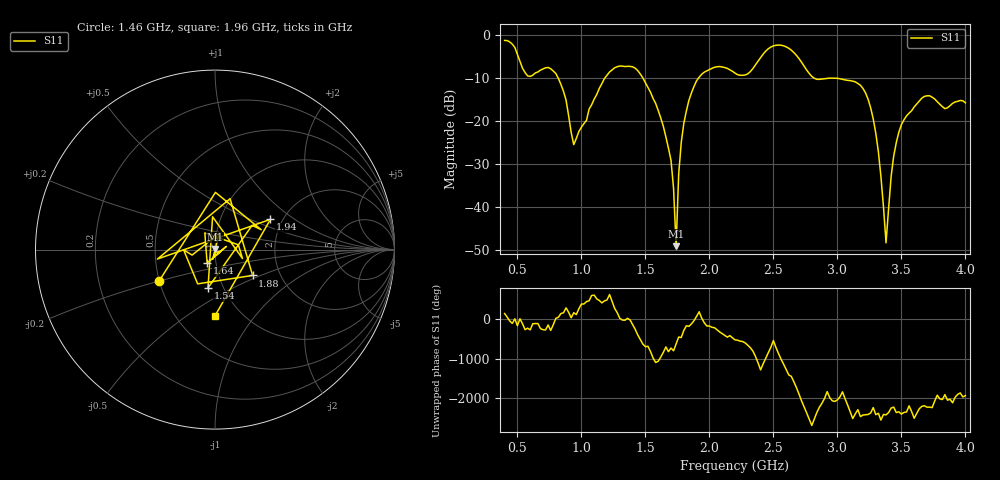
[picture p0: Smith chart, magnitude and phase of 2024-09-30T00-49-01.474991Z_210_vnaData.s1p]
!Created with skrf (http://scikit-rf.org).
# Hz S RI R 50.0
!freq ReS11 ImS11
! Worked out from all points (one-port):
!   181 points, 400 MHz to 4 GHz, reference 50 ohm
!   lowest |S11| = -49.2 dB at 1.74 GHz (marker M1), VSWR 1.01, Z = 50 + j0.346 ohm
!   |S11| at or under -10 dB: 819.2 MHz to 1.182 GHz (362.5 MHz wide, 36.2 % of centre); 1.481 GHz to 1.914 GHz (432.8 MHz wide, 25.5 % of centre); 2.992 GHz to end of sweep (the widest 3 of 4)
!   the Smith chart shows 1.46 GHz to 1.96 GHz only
!   S11 on the Smith chart (normalised r, x): 1.46 GHz: 0.50, -0.20; 1.54 GHz: 0.85, -0.38; 1.64 GHz: 0.91, -0.14; 1.88 GHz: 1.45, -0.45; 1.94 GHz: 1.73, +0.67; 1.96 GHz: 0.75, -0.65
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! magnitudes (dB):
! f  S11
! 400 MHz  -1.2
! 580 MHz  -9.5
! 740 MHz  -7.5
! 860 MHz  -13.1
! 940 MHz  -25.5
! 1.3 GHz  -7.1
! 1.46 GHz  -9.0
! 1.54 GHz  -13.3
! 1.64 GHz  -21.2
! 1.7 GHz  -29.2
! 1.72 GHz  -35.7
! 1.74 GHz  -49.2
! 1.76 GHz  -32.4
! 1.8 GHz  -20.5
! 1.88 GHz  -11.9
! 1.94 GHz  -9.1
! 1.96 GHz  -8.6
! 2.2 GHz  -8.8
! 2.66 GHz  -4.0
! 2.82 GHz  -10.0
! 3.1 GHz  -10.6
! 3.28 GHz  -19.5
! 3.32 GHz  -27.1
! 3.38 GHz  -48.4
! 3.44 GHz  -28.2
! 3.56 GHz  -18.2
! 3.7 GHz  -14.1
! 4 GHz  -15.7
